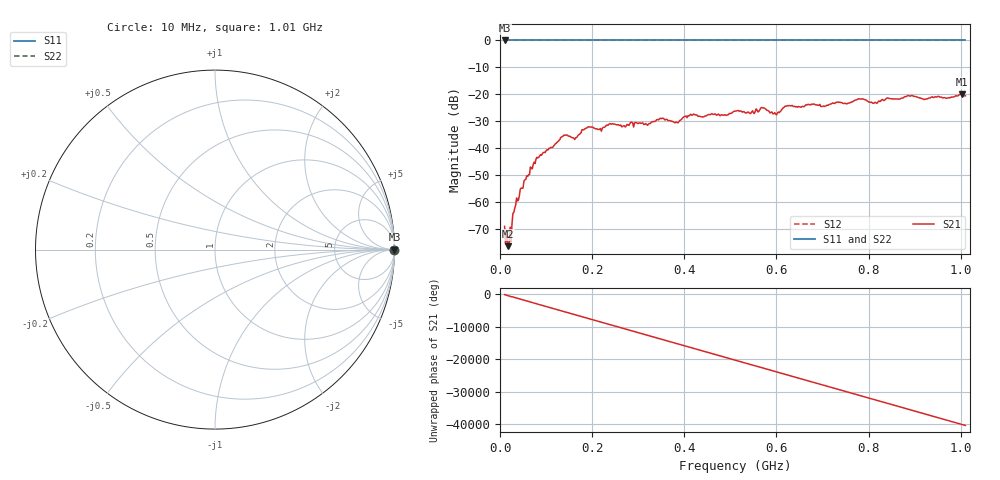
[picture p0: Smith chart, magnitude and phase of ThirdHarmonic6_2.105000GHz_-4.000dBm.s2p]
! 8/17/2025 1:10:39 AM
! C:\ANRITSUVNA\TEMP\TEMP.S2P
! CHANNEL.1
! TR.MEASUREMENT
! RAW.DATA
! RF.CORRECTION.OFF
! AVERAGING.OFF
! IF.BANDWIDTH: 5KHZ
! SWEEPTYPE:  FREQ.SWEEP(Linear)
! Reference Plane Port Info
! PORT:  PORT1  PORT2
! DISTANCE:  0  m  0  m
! TIME:  0  s  0  s
! PHASE.OFFSET:  0  deg.  0  deg.
! LOSS:  0  dB  0  dB
! REF.LOSS:  0  dB  0  dB
! REF.FREQ:  0  Hz  0  Hz
! Power Info
! POWER:  -20  dBm  -20  dBm
! EFF.POWER:  -20  dBm  -20  dBm
! SOURCE.ATTEN:  0  dB  0  dB
! TEST.ATTEN:  0  dB  0  dB
# GHZ S RI R 50.0
! FREQ.GHZ  S11RE  S11IM  S21RE  S21IM  S12RE  S12IM  S22RE  S22IM
!; PortSelection: Port_12
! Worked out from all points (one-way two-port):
!   501 points, 10 MHz to 1.01 GHz, reference 50 ohm
!   highest |S21| = -19.93 dB at 1.002 GHz (marker M1); lowest = -76.3 dB at 18 MHz (marker M2)
!   lowest |S11| = 0.0 dB at 10 MHz (marker M3)
!   |S11| at or under -10 dB: nowhere
!   |S22| runs from 0.0 to 0.0 dB; largest |S21 - S12| = 1.1
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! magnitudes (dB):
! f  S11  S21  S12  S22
! 10 MHz  0.0  -69.0  0.0  0.0
! 16 MHz  0.0  -74.3  0.0  0.0
! 18 MHz  0.0  -76.3  0.0  0.0
! 22 MHz  0.0  -69.2  0.0  0.0
! 32 MHz  0.0  -62.3  0.0  0.0
! 40 MHz  0.0  -59.2  0.0  0.0
! 76 MHz  0.0  -45.7  0.0  0.0
! 136 MHz  0.0  -35.6  0.0  0.0
! 162 MHz  0.0  -36.8  0.0  0.0
! 178 MHz  0.0  -33.1  0.0  0.0
! 344 MHz  0.0  -29.5  0.0  0.0
! 384 MHz  0.0  -30.4  0.0  0.0
! 416 MHz  0.0  -27.7  0.0  0.0
! 510 MHz  0.0  -26.2  0.0  0.0
! 570 MHz  0.0  -25.0  0.0  0.0
! 596 MHz  0.0  -26.8  0.0  0.0
! 622 MHz  0.0  -24.4  0.0  0.0
! 678 MHz  0.0  -23.7  0.0  0.0
! 814 MHz  0.0  -22.9  0.0  0.0
! 844 MHz  0.0  -21.5  0.0  0.0
! 1.002 GHz  0.0  -19.9  0.0  0.0
! 1.01 GHz  0.0  -20.5  0.0  0.0
